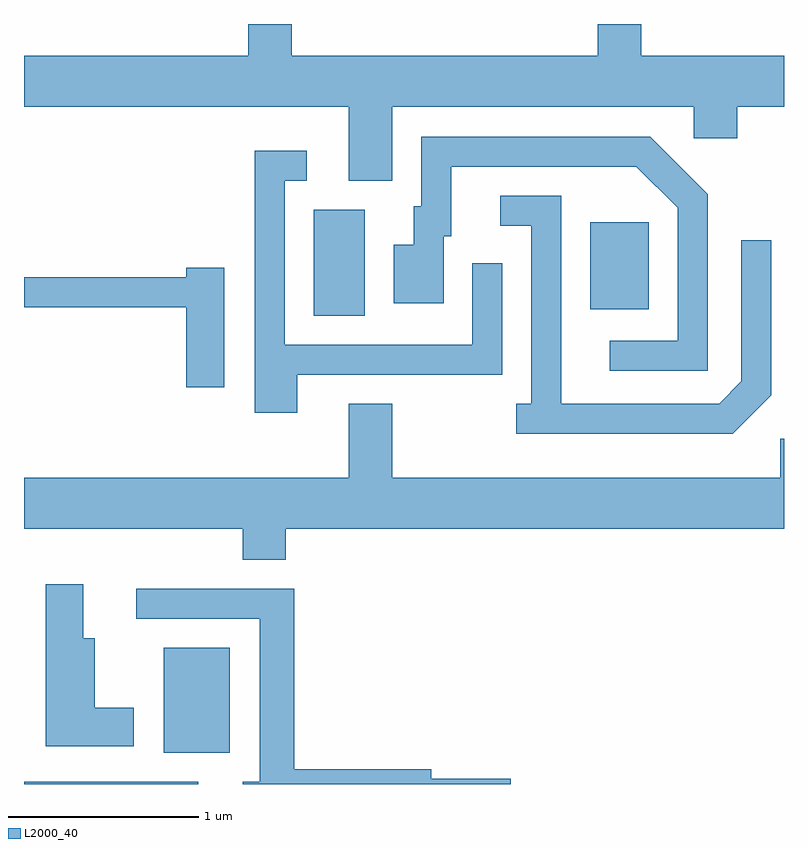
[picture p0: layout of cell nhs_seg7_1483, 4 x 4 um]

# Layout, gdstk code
import gdstk
lib = gdstk.Library(unit=1e-6, precision=1e-09)
def R(c, l, rs):  # rectangles x0, y0, x1, y1
    for r in rs: c.add(gdstk.rectangle(r[:2], r[2:], *l))
def P(c, l, *ps):  # polygons
    for p in ps: c.add(gdstk.Polygon(p, *l))
L2000_40 = (2000, 40)

nhs_seg7_1483 = lib.new_cell('nhs_seg7_1483')
R(nhs_seg7_1483, L2000_40, [(229.611,1766.252,230.529,1766.264), (230.346,1766.416,230.694,1766.969), (231.136,1768.716,231.404,1769.274), (232.591,1768.751,232.899,1769.209)])
P(nhs_seg7_1483, L2000_40, [(231.549,1769.816),(233.136,1769.816),(233.136,1769.651),(233.364,1769.651),(233.364,1769.816),(233.611,1769.816),(233.611,1770.084),(232.859,1770.084),(232.859,1770.252),(232.631,1770.252),(232.631,1770.084),(231.019,1770.084),(231.019,1770.252),(230.791,1770.252),(230.791,1770.084),(229.611,1770.084),(229.611,1769.816),(231.321,1769.816),(231.321,1769.426),(231.549,1769.426)],
  [(233.209,1769.357),(232.907,1769.659),(231.701,1769.659),(231.701,1769.294),(231.661,1769.294),(231.661,1769.089),(231.556,1769.089),(231.556,1768.781),(231.819,1768.781),(231.819,1769.136),(231.859,1769.136),(231.859,1769.501),(232.834,1769.501),(233.051,1769.284),(233.051,1768.584),(232.693,1768.584),(232.693,1768.426),(233.209,1768.426)],
  [(231.049,1768.406),(232.129,1768.406),(232.129,1768.993),(231.971,1768.993),(231.971,1768.564),(230.984,1768.564),(230.984,1769.426),(231.098,1769.426),(231.098,1769.584),(230.826,1769.584),(230.826,1768.206),(231.049,1768.206)],
  [(233.544,1768.299),(233.544,1769.113),(233.386,1769.113),(233.386,1768.372),(233.269,1768.254),(232.439,1768.254),(232.439,1769.349),(232.118,1769.349),(232.118,1769.191),(232.281,1769.191),(232.281,1768.254),(232.203,1768.254),(232.203,1768.096),(233.342,1768.096)],
  [(230.664,1768.969),(230.466,1768.969),(230.466,1768.919),(229.611,1768.919),(229.611,1768.761),(230.466,1768.761),(230.466,1768.341),(230.664,1768.341)],
  [(230.989,1767.596),(233.611,1767.596),(233.611,1768.069),(233.591,1768.069),(233.591,1767.864),(231.549,1767.864),(231.549,1768.254),(231.321,1768.254),(231.321,1767.864),(229.611,1767.864),(229.611,1767.596),(230.761,1767.596),(230.761,1767.431),(230.989,1767.431)],
  [(230.189,1766.654),(229.984,1766.654),(229.984,1767.019),(229.924,1767.019),(229.924,1767.304),(229.726,1767.304),(229.726,1766.451),(230.189,1766.451)],
  [(232.174,1766.279),(231.754,1766.279),(231.754,1766.329),(231.034,1766.329),(231.034,1767.279),(230.203,1767.279),(230.203,1767.121),(230.851,1767.121),(230.851,1766.264),(230.761,1766.264),(230.761,1766.252),(232.174,1766.252)])

lib.write_gds('nhs_seg7_1483.gds')
